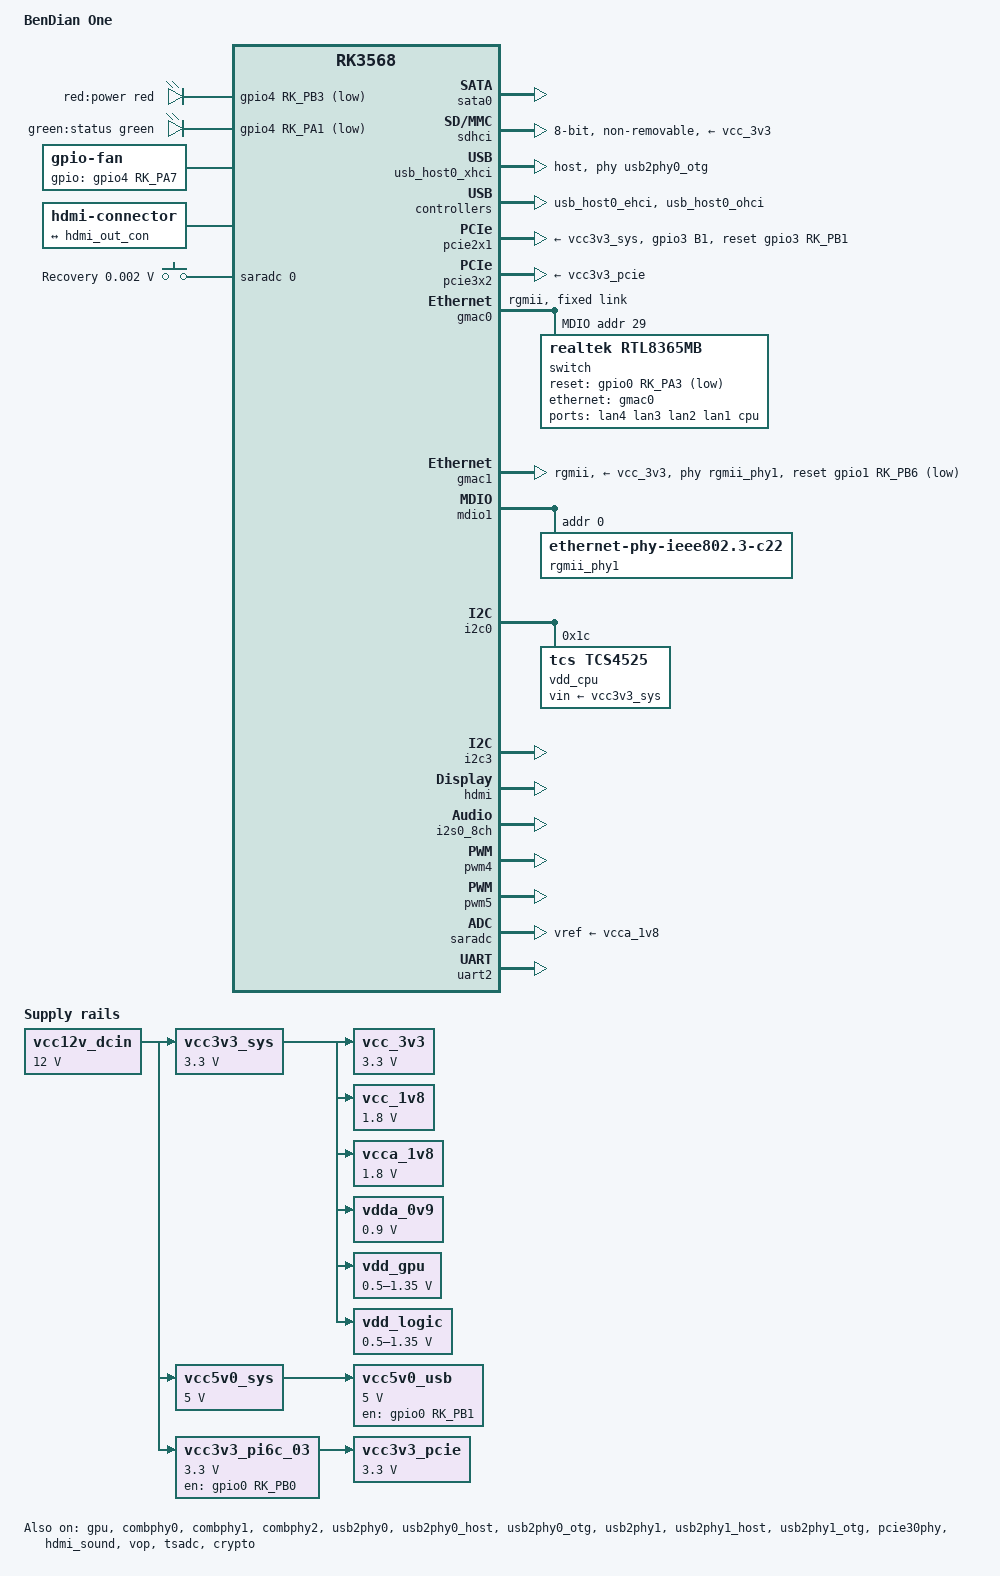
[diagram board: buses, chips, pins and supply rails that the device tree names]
// SPDX-License-Identifier: (GPL-2.0+ OR MIT)
/dts-v1/;

#include <dt-bindings/gpio/gpio.h>
#include <dt-bindings/input/input.h>
#include <dt-bindings/leds/common.h>
#include <dt-bindings/pinctrl/rockchip.h>
#include <dt-bindings/soc/rockchip,vop2.h>
/* 【修复 1】补充缺失的中断头文件 */
#include <dt-bindings/interrupt-controller/irq.h>
/* 【修复 2】修正主线内核的 dtsi 包含路径 */
#include "rk3568.dtsi"

/ {
	model = "BenDian One";
	compatible = "bendian,bd-one", "rockchip,rk3568";

	aliases {
		ethernet0 = &gmac0;
		ethernet1 = &gmac1;
		mmc0 = &sdhci;
		led-boot = &led_power;
		led-failsafe = &led_power;
		led-running = &led_power;
		led-upgrade = &led_power;
	};

	chosen {
		stdout-path = "serial2:1500000n8";
	};

	reserved-memory {
		#address-cells = <2>;
		#size-cells = <2>;
		ranges;

		cma: linux,cma {
			compatible = "shared-dma-pool";
			reusable;
			size = <0x0 0x10000000>;
			linux,cma-default;
		};
	};

	gpio-leds {
		compatible = "gpio-leds";
		pinctrl-names = "default";
		pinctrl-0 = <&power_led_pin &status_led_pin>;

		led_power: led-0 {
			label = "red:power";
			gpios = <&gpio4 RK_PB3 GPIO_ACTIVE_LOW>;
			color = <LED_COLOR_ID_RED>;
			function = LED_FUNCTION_POWER;
			linux,default-trigger = "default-on";
		};

		led-1 {
			label = "green:status";
			gpios = <&gpio4 RK_PA1 GPIO_ACTIVE_LOW>;
			color = <LED_COLOR_ID_GREEN>;
			function = LED_FUNCTION_STATUS;
			linux,default-trigger = "heartbeat";
		};
	};

	gpio-fan {
		compatible = "gpio-fan";
		gpios = <&gpio4 RK_PA7 GPIO_ACTIVE_HIGH>;
		gpio-fan,speed-map = <0 0>, <7500 1>;
		pinctrl-names = "default";
		pinctrl-0 = <&fan_pins>;
		#cooling-cells = <2>;
	};

	hdmi-con {
		compatible = "hdmi-connector";
		type = "a";
		port {
			hdmi_con_in: endpoint {
				remote-endpoint = <&hdmi_out_con>;
			};
		};
	};

	hdmi-sound {
		compatible = "simple-audio-card";
		simple-audio-card,name = "HDMI";
		simple-audio-card,format = "i2s";
		simple-audio-card,mclk-fs = <256>;
		status = "okay";

		simple-audio-card,codec {
			sound-dai = <&hdmi>;
		};

		simple-audio-card,cpu {
			sound-dai = <&i2s0_8ch>;
		};
	};

	adc-keys {
		compatible = "adc-keys";
		io-channels = <&saradc 0>;
		io-channel-names = "buttons";
		keyup-threshold-microvolt = <1800000>;
		poll-interval = <100>;

		button-recovery {
			label = "Recovery";
			linux,code = <KEY_VENDOR>;
			press-threshold-microvolt = <1750>;
		};
	};

	vcc12v_dcin: vcc12v-dcin {
		compatible = "regulator-fixed";
		regulator-name = "vcc12v_dcin";
		regulator-always-on;
		regulator-boot-on;
		regulator-min-microvolt = <12000000>;
		regulator-max-microvolt = <12000000>;
	};

	vcc3v3_sys: vcc3v3-sys {
		compatible = "regulator-fixed";
		regulator-name = "vcc3v3_sys";
		regulator-always-on;
		regulator-boot-on;
		regulator-min-microvolt = <3300000>;
		regulator-max-microvolt = <3300000>;
		vin-supply = <&vcc12v_dcin>;
	};

	vcc5v0_sys: vcc5v0-sys {
		compatible = "regulator-fixed";
		regulator-name = "vcc5v0_sys";
		regulator-always-on;
		regulator-boot-on;
		regulator-min-microvolt = <5000000>;
		regulator-max-microvolt = <5000000>;
		vin-supply = <&vcc12v_dcin>;
	};

	vcc5v0_usb: vcc5v0-usb {
		compatible = "regulator-fixed";
		regulator-name = "vcc5v0_usb";
		enable-active-high;
		gpio = <&gpio0 RK_PB1 GPIO_ACTIVE_HIGH>;
		pinctrl-names = "default";
		pinctrl-0 = <&usb_pwr_en>;
		regulator-min-microvolt = <5000000>;
		regulator-max-microvolt = <5000000>;
		vin-supply = <&vcc5v0_sys>;
	};

	vcc_3v3: vcc-3v3 {
		compatible = "regulator-fixed";
		regulator-name = "vcc_3v3";
		regulator-always-on;
		regulator-boot-on;
		regulator-min-microvolt = <3300000>;
		regulator-max-microvolt = <3300000>;
		vin-supply = <&vcc3v3_sys>;
	};

	vcc_1v8: vcc-1v8 {
		compatible = "regulator-fixed";
		regulator-name = "vcc_1v8";
		regulator-always-on;
		regulator-boot-on;
		regulator-min-microvolt = <1800000>;
		regulator-max-microvolt = <1800000>;
		vin-supply = <&vcc3v3_sys>;
	};

	vcca_1v8: vcca-1v8 {
		compatible = "regulator-fixed";
		regulator-name = "vcca_1v8";
		regulator-always-on;
		regulator-boot-on;
		regulator-min-microvolt = <1800000>;
		regulator-max-microvolt = <1800000>;
		vin-supply = <&vcc3v3_sys>;
	};

	vdda_0v9: vdda-0v9 {
		compatible = "regulator-fixed";
		regulator-name = "vdda_0v9";
		regulator-always-on;
		regulator-boot-on;
		regulator-min-microvolt = <900000>;
		regulator-max-microvolt = <900000>;
		vin-supply = <&vcc3v3_sys>;
	};

	vcc3v3_pi6c_03: vcc3v3-pi6c-03 {
		compatible = "regulator-fixed";
		regulator-name = "vcc3v3_pi6c_03";
		enable-active-high;
		gpio = <&gpio0 RK_PB0 GPIO_ACTIVE_HIGH>;
		pinctrl-names = "default";
		pinctrl-0 = <&ssd_pwr_en>;
		regulator-min-microvolt = <3300000>;
		regulator-max-microvolt = <3300000>;
		vin-supply = <&vcc12v_dcin>;
	};

	vcc3v3_pcie: vcc3v3-pcie {
		compatible = "regulator-fixed";
		regulator-name = "vcc3v3_pcie";
		regulator-always-on;
		regulator-boot-on;
		regulator-min-microvolt = <3300000>;
		regulator-max-microvolt = <3300000>;
		vin-supply = <&vcc3v3_pi6c_03>;
	};

	vdd_gpu: vdd-gpu {
		compatible = "pwm-regulator";
		pwms = <&pwm4 0 5000 1>;
		pwm-supply = <&vcc3v3_sys>;
		regulator-name = "vdd_gpu";
		regulator-always-on;
		regulator-boot-on;
		regulator-init-microvolt = <900000>;
		regulator-min-microvolt = <500000>;
		regulator-max-microvolt = <1350000>;
		regulator-ramp-delay = <6001>;
		regulator-settling-time-up-us = <250>;
	};

	vdd_logic: vdd-logic {
		compatible = "pwm-regulator";
		pwms = <&pwm5 0 5000 1>;
		pwm-supply = <&vcc3v3_sys>;
		regulator-name = "vdd_logic";
		regulator-always-on;
		regulator-boot-on;
		regulator-init-microvolt = <900000>;
		regulator-min-microvolt = <500000>;
		regulator-max-microvolt = <1350000>;
		regulator-ramp-delay = <6001>;
		regulator-settling-time-up-us = <250>;
	};
};

&cpu0 { cpu-supply = <&vdd_cpu>; };
&cpu1 { cpu-supply = <&vdd_cpu>; };
&cpu2 { cpu-supply = <&vdd_cpu>; };
&cpu3 { cpu-supply = <&vdd_cpu>; };

&gpu {
	mali-supply = <&vdd_gpu>;
	status = "okay";
};

&combphy0 { status = "okay"; };
&combphy1 { status = "okay"; };
&combphy2 { status = "okay"; };

&sata0 { status = "okay"; };

&sdhci {
	bus-width = <8>;
	max-frequency = <200000000>;
	non-removable;
	mmc-hs400-1_8v;
	mmc-hs400-enhanced-strobe;
	vmmc-supply = <&vcc_3v3>;
	vqmmc-supply = <&vcc_1v8>;
	pinctrl-names = "default";
	pinctrl-0 = <&emmc_bus8 &emmc_clk &emmc_cmd>;
	status = "okay";
};

&usb2phy0 { status = "okay"; };
&usb2phy0_host { phy-supply = <&vcc5v0_usb>; status = "okay"; };
&usb2phy0_otg { phy-supply = <&vcc5v0_usb>; status = "okay"; };

&usb_host0_xhci {
	dr_mode = "host";
	phys = <&usb2phy0_otg>, <&combphy1 PHY_TYPE_USB3>;
	phy-names = "usb2-phy", "usb3-phy";
	status = "okay";
};

&usb2phy1 { status = "okay"; };
&usb2phy1_host { phy-supply = <&vcc5v0_usb>; status = "okay"; };
&usb2phy1_otg { status = "okay"; };
&usb_host0_ehci { status = "okay"; };
&usb_host0_ohci { status = "okay"; };

&pcie2x1 {
	reset-gpios = <&gpio3 RK_PB1 GPIO_ACTIVE_HIGH>;
	vpcie3v3-supply = <&vcc3v3_sys>;
	pinctrl-names = "default";
	pinctrl-0 = <&pcie20_reset_pin>;
	status = "okay";
};

&pcie30phy { status = "okay"; };

/* 【修复 4】优化 PCIe 3.0 配置，移除可能导致时序冲突的硬复位引脚，依赖内核标准电源时序 */
&pcie3x2 {
	vpcie3v3-supply = <&vcc3v3_pcie>;
	status = "okay";
};

/* ====================================================================== */
/* Ethernet (GMAC0 + RTL8365MB Switch) */
/* ====================================================================== */
&gmac0 {
	assigned-clocks = <&cru SCLK_GMAC0_RX_TX>, <&cru CLK_MAC0_OUT>;
	assigned-clock-parents = <&cru SCLK_GMAC0_RGMII_SPEED>;
	assigned-clock-rates = <0>, <125000000>;
	clock_in_out = "output";
	phy-mode = "rgmii";
	pinctrl-names = "default";
	pinctrl-0 = <&gmac0_miim>, <&gmac0_tx_bus2>, <&gmac0_rx_bus2>,
		    <&gmac0_rgmii_clk>, <&gmac0_rgmii_bus>;
	tx_delay = <0x4f>;
	rx_delay = <0x0f>;
	status = "okay";

	fixed-link {
		speed = <1000>;
		full-duplex;
	};

	mdio {
		compatible = "snps,dwmac-mdio";
		#address-cells = <1>;
		#size-cells = <0>;

		switch@1d {
			compatible = "realtek,rtl8365mb";
			reg = <0x1d>;
			reset-gpios = <&gpio0 RK_PA3 GPIO_ACTIVE_LOW>;

			/* 【修复 3】彻底移除中断配置，采用 6.18 最稳妥的 MDIO 轮询模式，避免 DSA 注册失败 */
			/* 如果你必须使用中断，请确保使用标准的嵌套 interrupt-controller 子节点写法 */

			ports {
				#address-cells = <1>;
				#size-cells = <0>;

				port@0 { reg = <0>; label = "lan4"; };
				port@1 { reg = <1>; label = "lan3"; };
				port@2 { reg = <2>; label = "lan2"; };
				port@3 { reg = <3>; label = "lan1"; };

				port@7 {
					reg = <7>;
					label = "cpu";
					ethernet = <&gmac0>;
					phy-mode = "rgmii";
					fixed-link {
						speed = <1000>;
						full-duplex;
					};
				};
			};
		};
	};
};

&gmac1 {
	assigned-clocks = <&cru SCLK_GMAC1_RX_TX>, <&cru CLK_MAC1_OUT>;
	assigned-clock-parents = <&cru SCLK_GMAC1_RGMII_SPEED>;
	assigned-clock-rates = <0>, <125000000>;
	clock_in_out = "output";
	phy-mode = "rgmii";
	phy-handle = <&rgmii_phy1>;
	phy-supply = <&vcc_3v3>;
	pinctrl-names = "default";
	pinctrl-0 = <&gmac1m0_miim>, <&gmac1m0_tx_bus2>, <&gmac1m0_rx_bus2>,
		    <&gmac1m0_rgmii_clk>, <&gmac1m0_rgmii_bus>;
	snps,reset-gpio = <&gpio1 RK_PB6 GPIO_ACTIVE_LOW>;
	snps,reset-active-low;
	snps,reset-delays-us = <0 20000 100000>;
	tx_delay = <0x4f>;
	rx_delay = <0x26>;
	status = "okay";
};

&mdio1 {
	rgmii_phy1: ethernet-phy@0 {
		compatible = "ethernet-phy-ieee802.3-c22";
		reg = <0>;
		realtek,led-data = <0x17b>;
	};
};

&i2c0 {
	status = "okay";

	vdd_cpu: regulator@1c {
		compatible = "tcs,tcs4525";
		reg = <0x1c>;
		fcs,suspend-voltage-selector = <1>;
		regulator-name = "vdd_cpu";
		regulator-always-on;
		regulator-boot-on;
		regulator-init-microvolt = <900000>;
		regulator-min-microvolt = <712500>;
		regulator-max-microvolt = <1390000>;
		regulator-ramp-delay = <2300>;
		vin-supply = <&vcc3v3_sys>;

		regulator-state-mem {
			regulator-off-in-suspend;
		};
	};
};

&i2c3 { status = "okay"; };

&hdmi {
	avdd-0v9-supply = <&vdda_0v9>;
	avdd-1v8-supply = <&vcca_1v8>;
	status = "okay";
};

&hdmi_in {
	hdmi_in_vp0: endpoint {
		remote-endpoint = <&vp0_out_hdmi>;
	};
};

&hdmi_out {
	hdmi_out_con: endpoint {
		remote-endpoint = <&hdmi_con_in>;
	};
};

&hdmi_sound { status = "okay"; };

&vop {
	assigned-clocks = <&cru DCLK_VOP0>, <&cru DCLK_VOP1>;
	assigned-clock-parents = <&pmucru PLL_HPLL>, <&cru PLL_VPLL>;
	status = "okay";
};

&vop_mmu { status = "okay"; };

&vp0 {
	vp0_out_hdmi: endpoint@ROCKCHIP_VOP2_EP_HDMI0 {
		reg = <ROCKCHIP_VOP2_EP_HDMI0>;
		remote-endpoint = <&hdmi_in_vp0>;
	};
};

&i2s0_8ch { status = "okay"; };
&pwm4 { status = "okay"; };
&pwm5 { status = "okay"; };

&tsadc {
	rockchip,hw-tshut-mode = <1>;
	rockchip,hw-tshut-polarity = <0>;
	status = "okay";
};

&saradc {
	vref-supply = <&vcca_1v8>;
	status = "okay";
};

&crypto { status = "okay"; };

&pmu_io_domains {
	pmuio1-supply = <&vcc_3v3>;
	pmuio2-supply = <&vcc_3v3>;
	vccio1-supply = <&vcc_3v3>;
	vccio2-supply = <&vcc_1v8>;
	vccio3-supply = <&vcc_3v3>;
	vccio4-supply = <&vcc_3v3>;
	vccio5-supply = <&vcc_3v3>;
	vccio6-supply = <&vcc_3v3>;
	vccio7-supply = <&vcc_3v3>;
	status = "okay";
};

&uart2 { status = "okay"; };

&pinctrl {
	fan {
		fan_pins: fan-pins {
			rockchip,pins = <4 RK_PA7 RK_FUNC_GPIO &pcfg_pull_none>;
		};
	};

	gpio-leds {
		power_led_pin: power-led-pin {
			rockchip,pins = <4 RK_PB3 RK_FUNC_GPIO &pcfg_pull_none>;
		};
		status_led_pin: status-led-pin {
			rockchip,pins = <4 RK_PA1 RK_FUNC_GPIO &pcfg_pull_none>;
		};
	};

	pcie20 {
		pcie20_reset_pin: pcie20-reset-pin {
			rockchip,pins = <3 RK_PB1 RK_FUNC_GPIO &pcfg_pull_down>;
		};
	};

	pcie30 {
		/* 保留 SSD 电源使能引脚 */
		ssd_pwr_en: ssd-pwr-en {
			rockchip,pins = <0 RK_PB0 RK_FUNC_GPIO &pcfg_pull_none>;
		};
	};

	usb {
		usb_pwr_en: usb-pwr-en {
			rockchip,pins = <0 RK_PB1 RK_FUNC_GPIO &pcfg_pull_none>;
		};
	};
};
